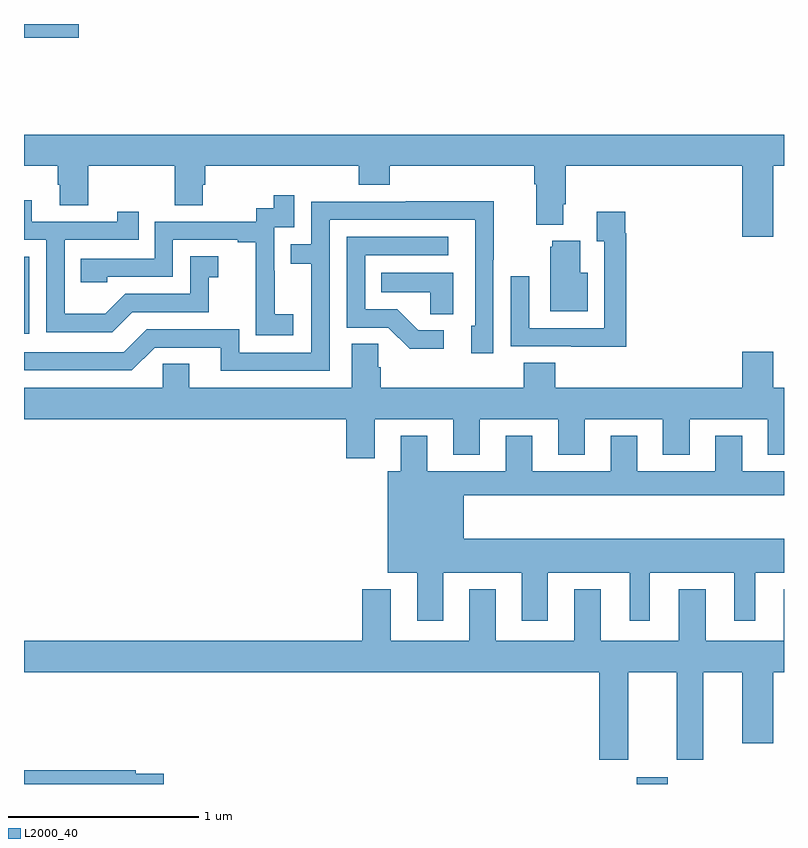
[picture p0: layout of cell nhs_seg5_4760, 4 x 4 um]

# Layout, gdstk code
import gdstk
lib = gdstk.Library(unit=1e-6, precision=1e-09)
def R(c, l, rs):  # rectangles x0, y0, x1, y1
    for r in rs: c.add(gdstk.rectangle(r[:2], r[2:], *l))
def P(c, l, *ps):  # polygons
    for p in ps: c.add(gdstk.Polygon(p, *l))
L2000_40 = (2000, 40)

nhs_seg5_4760 = lib.new_cell('nhs_seg5_4760')
R(nhs_seg5_4760, L2000_40, [(392.225,894.799,392.389,894.835), (389,897.168,389.028,897.573), (389,898.727,389.287,898.799)])
P(nhs_seg5_4760, L2000_40, [(392.944,898.052),(393,898.052),(393,898.216),(389,898.216),(389,898.052),(389.177,898.052),(389.177,897.954),(389.189,897.954),(389.189,897.844),(389.337,897.844),(389.337,898.052),(389.794,898.052),(389.794,897.844),(389.941,897.844),(389.941,897.954),(389.954,897.954),(389.954,898.052),(390.761,898.052),(390.761,897.953),(390.926,897.953),(390.926,898.052),(391.685,898.052),(391.685,897.956),(391.697,897.956),(391.697,897.743),(391.837,897.743),(391.837,897.85),(391.85,897.85),(391.85,898.052),(392.78,898.052),(392.78,897.678),(392.944,897.678)],
  [(390.418,897.271),(390.32,897.271),(390.32,897.5),(390.318,897.5),(390.318,897.729),(390.423,897.729),(390.423,897.898),(390.315,897.898),(390.315,897.828),(390.222,897.828),(390.222,897.759),(389.688,897.759),(389.688,897.564),(389.299,897.564),(389.299,897.441),(389.439,897.441),(389.439,897.468),(389.784,897.468),(389.784,897.663),(390.125,897.663),(390.125,897.651),(390.221,897.651),(390.221,897.367),(390.22,897.367),(390.22,897.161),(390.418,897.161)],
  [(389.569,897.282),(389.973,897.282),(389.973,897.467),(390.022,897.467),(390.022,897.577),(389.874,897.577),(389.874,897.378),(389.532,897.378),(389.428,897.274),(389.214,897.274),(389.214,897.663),(389.603,897.663),(389.603,897.811),(389.492,897.811),(389.492,897.759),(389.041,897.759),(389.041,897.871),(389,897.871),(389,897.663),(389.118,897.663),(389.118,897.177),(389.464,897.177)],
  [(390.609,897.768),(391.374,897.768),(391.374,897.21),(391.355,897.21),(391.355,897.066),(391.47,897.066),(391.47,897.559),(391.473,897.559),(391.473,897.866),(391.009,897.866),(391.009,897.864),(390.513,897.864),(390.513,897.639),(390.403,897.639),(390.403,897.538),(390.513,897.538),(390.513,897.069),(390.132,897.069),(390.132,897.192),(389.646,897.192),(389.526,897.072),(389,897.072),(389,896.976),(389.568,896.976),(389.688,897.096),(390.035,897.096),(390.035,896.973),(390.609,896.973)],
  [(392.171,897.698),(392.164,897.698),(392.164,897.811),(392.015,897.811),(392.015,897.655),(392.055,897.655),(392.055,897.198),(391.659,897.198),(391.659,897.472),(391.563,897.472),(391.563,897.102),(391.879,897.102),(391.879,897.101),(392.171,897.101)],
  [(391.21,897.186),(391.075,897.186),(390.964,897.297),(390.795,897.297),(390.795,897.582),(391.234,897.582),(391.234,897.678),(390.699,897.678),(390.699,897.201),(390.918,897.201),(391.031,897.089),(391.21,897.089)],
  [(391.966,897.49),(391.927,897.49),(391.927,897.658),(391.781,897.658),(391.781,897.627),(391.769,897.627),(391.769,897.287),(391.966,897.287)],
  [(391.258,897.49),(390.88,897.49),(390.88,897.386),(391.137,897.386),(391.137,897.271),(391.258,897.271)],
  [(390.847,896.72),(391.259,896.72),(391.259,896.531),(391.399,896.531),(391.399,896.72),(391.811,896.72),(391.811,896.531),(391.951,896.531),(391.951,896.72),(392.363,896.72),(392.363,896.531),(392.503,896.531),(392.503,896.72),(392.915,896.72),(392.915,896.531),(393,896.531),(393,896.884),(392.944,896.884),(392.944,897.073),(392.78,897.073),(392.78,896.884),(391.796,896.884),(391.796,897.017),(391.631,897.017),(391.631,896.884),(390.878,896.884),(390.878,896.993),(390.864,896.993),(390.864,897.116),(390.725,897.116),(390.725,896.884),(389.869,896.884),(389.869,897.011),(389.73,897.011),(389.73,896.884),(389,896.884),(389,896.72),(390.695,896.72),(390.695,896.514),(390.847,896.514)],
  [(391.207,895.91),(391.619,895.91),(391.619,895.659),(391.756,895.659),(391.756,895.91),(392.189,895.91),(392.189,895.659),(392.293,895.659),(392.293,895.91),(392.738,895.91),(392.738,895.659),(392.848,895.659),(392.848,895.91),(393,895.91),(393,896.089),(391.315,896.089),(391.315,896.318),(393,896.318),(393,896.446),(392.779,896.446),(392.779,896.632),(392.639,896.632),(392.639,896.446),(392.227,896.446),(392.227,896.632),(392.087,896.632),(392.087,896.446),(391.675,896.446),(391.675,896.632),(391.535,896.632),(391.535,896.446),(391.123,896.446),(391.123,896.632),(390.983,896.632),(390.983,896.446),(390.914,896.446),(390.914,895.91),(391.07,895.91),(391.07,895.659),(391.207,895.659)],
  [(392.179,895.388),(392.435,895.388),(392.435,894.927),(392.575,894.927),(392.575,895.388),(392.78,895.388),(392.78,895.014),(392.944,895.014),(392.944,895.388),(393,895.388),(393,895.825),(392.999,895.825),(392.999,895.552),(392.587,895.552),(392.587,895.825),(392.447,895.825),(392.447,895.552),(392.035,895.552),(392.035,895.825),(391.895,895.825),(391.895,895.552),(391.483,895.552),(391.483,895.825),(391.343,895.825),(391.343,895.552),(390.931,895.552),(390.931,895.825),(390.779,895.825),(390.779,895.552),(389,895.552),(389,895.388),(392.027,895.388),(392.027,894.927),(392.179,894.927)],
  [(389.735,894.852),(389.588,894.852),(389.588,894.872),(389,894.872),(389,894.799),(389.735,894.799)])

lib.write_gds('nhs_seg5_4760.gds')
